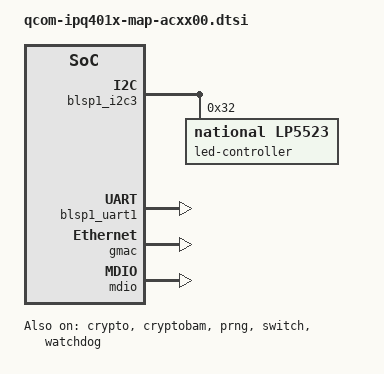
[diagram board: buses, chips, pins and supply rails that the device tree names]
// SPDX-License-Identifier: GPL-2.0-or-later OR MIT

&blsp1_i2c3 {
	pinctrl-0 = <&i2c_0_pins>;
	pinctrl-names = "default";
	status = "okay";

	led-controller@32 {
		/* 9-channel RGB LED controller */
		compatible = "national,lp5523";
		reg = <0x32>;
		clock-mode = /bits/ 8 <1>;
		#address-cells = <1>;
		#size-cells = <0>;

		/*
		 * There is only one single extremely bright RGB-LED.
		 * The RGB-color channels are running in parallel to
		 * increase the current delivery capabilities beyond
		 * what a single PWM-output of the controller can do.
		 */

		led_blue0: led@0 {
			chan-name = "blue-0";
			led-cur = /bits/ 8 <0xfa>;
			max-cur = /bits/ 8 <0xff>;
			reg = <0>;
			color = <LED_COLOR_ID_BLUE>;
			function-enumerator = <0>;
		};

		led@1 {
			chan-name = "blue-1";
			led-cur = /bits/ 8 <0xfa>;
			max-cur = /bits/ 8 <0xff>;
			reg = <1>;
			color = <LED_COLOR_ID_BLUE>;
			function-enumerator = <1>;
		};

		led@2 {
			chan-name = "blue-2";
			led-cur = /bits/ 8 <0xfa>;
			max-cur = /bits/ 8 <0xff>;
			reg = <2>;
			color = <LED_COLOR_ID_BLUE>;
			function-enumerator = <2>;
		};

		led_green0: led@3 {
			chan-name = "green-0";
			led-cur = /bits/ 8 <0xfa>;
			max-cur = /bits/ 8 <0xff>;
			reg = <3>;
			color = <LED_COLOR_ID_GREEN>;
			function-enumerator = <0>;
		};

		led@4 {
			chan-name = "green-1";
			led-cur = /bits/ 8 <0xfa>;
			max-cur = /bits/ 8 <0xff>;
			reg = <4>;
			color = <LED_COLOR_ID_GREEN>;
			function-enumerator = <1>;
		};

		led@5 {
			chan-name = "green-2";
			led-cur = /bits/ 8 <0xfa>;
			max-cur = /bits/ 8 <0xff>;
			reg = <5>;
			color = <LED_COLOR_ID_GREEN>;
			function-enumerator = <2>;
		};

		led_red0: led@6 {
			chan-name = "red-0";
			led-cur = /bits/ 8 <0xfa>;
			max-cur = /bits/ 8 <0xff>;
			reg = <6>;
			color = <LED_COLOR_ID_RED>;
			function-enumerator = <0>;
		};

		led@7 {
			chan-name = "red-1";
			led-cur = /bits/ 8 <0xfa>;
			max-cur = /bits/ 8 <0xff>;
			reg = <7>;
			color = <LED_COLOR_ID_RED>;
			function-enumerator = <1>;
		};

		led@8 {
			chan-name = "red-2";
			led-cur = /bits/ 8 <0xfa>;
			max-cur = /bits/ 8 <0xff>;
			reg = <8>;
			color = <LED_COLOR_ID_RED>;
			function-enumerator = <2>;
		};
	};
};

&blsp1_uart1 {
	pinctrl-0 = <&serial_pins>;
	pinctrl-names = "default";
	status = "okay";
};

&blsp_dma {
	status = "okay";
};

&crypto {
	status = "okay";
};

&cryptobam {
	status = "okay";
};

&gmac {
	status = "okay";
};

&mdio {
	status = "okay";
};

&prng {
	status = "okay";
};

&switch {
	status = "okay";
};

&watchdog {
	status = "okay";
};
